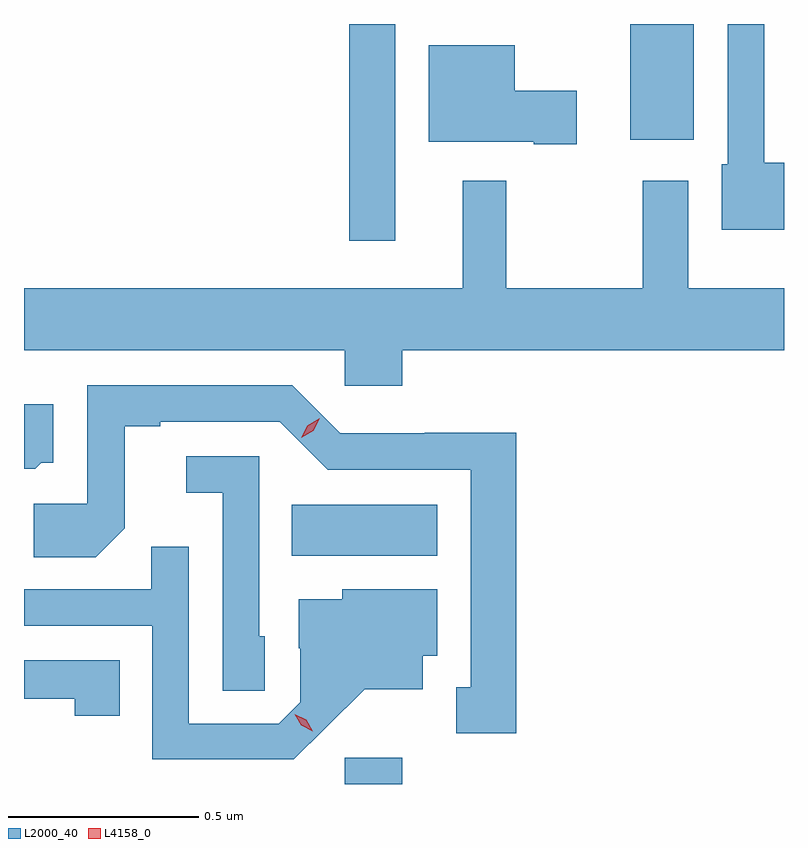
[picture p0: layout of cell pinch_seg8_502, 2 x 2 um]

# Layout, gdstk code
import gdstk
lib = gdstk.Library(unit=1e-6, precision=1e-09)
def R(c, l, rs):  # rectangles x0, y0, x1, y1
    for r in rs: c.add(gdstk.rectangle(r[:2], r[2:], *l))
def P(c, l, *ps):  # polygons
    for p in ps: c.add(gdstk.Polygon(p, *l))
L2000_40 = (2000, 40)
L4158_0 = (4158, 0)

pinch_seg8_502 = lib.new_cell('pinch_seg8_502')
R(pinch_seg8_502, L2000_40, [(210.99,1138.003,211.142,1138.072), (210.85,1138.604,211.234,1138.738), (211.002,1139.433,211.123,1140.003), (211.742,1139.699,211.909,1140.003)])
P(pinch_seg8_502, L2000_40, [(212.146,1139.638),(212.094,1139.638),(212.094,1140.003),(211.998,1140.003),(211.998,1139.634),(211.982,1139.634),(211.982,1139.462),(212.146,1139.462)],
  [(211.6,1139.828),(211.438,1139.828),(211.438,1139.947),(211.211,1139.947),(211.211,1139.693),(211.487,1139.693),(211.487,1139.686),(211.6,1139.686)],
  [(211.142,1139.144),(212.146,1139.144),(212.146,1139.308),(211.894,1139.308),(211.894,1139.59),(211.774,1139.59),(211.774,1139.308),(211.415,1139.308),(211.415,1139.59),(211.301,1139.59),(211.301,1139.308),(210.146,1139.308),(210.146,1139.144),(210.99,1139.144),(210.99,1139.051),(211.142,1139.051)],
  [(211.441,1138.928),(211.2,1138.928),(211.2,1138.926),(210.978,1138.926),(210.852,1139.052),(210.312,1139.052),(210.312,1138.74),(210.171,1138.74),(210.171,1138.6),(210.335,1138.6),(210.411,1138.676),(210.411,1138.944),(210.505,1138.944),(210.505,1138.956),(210.819,1138.956),(210.945,1138.83),(211.322,1138.83),(211.322,1138.257),(211.283,1138.257),(211.283,1138.137),(211.441,1138.137)],
  [(210.192,1138.848),(210.223,1138.848),(210.223,1139.002),(210.146,1139.002),(210.146,1138.832),(210.176,1138.832)],
  [(210.78,1138.392),(210.765,1138.392),(210.765,1138.866),(210.573,1138.866),(210.573,1138.769),(210.669,1138.769),(210.669,1138.249),(210.78,1138.249)],
  [(210.94,1138.151),(211.043,1138.253),(211.195,1138.253),(211.195,1138.34),(211.234,1138.34),(211.234,1138.516),(210.984,1138.516),(210.984,1138.489),(210.869,1138.489),(210.869,1138.36),(210.873,1138.36),(210.873,1138.218),(210.816,1138.161),(210.579,1138.161),(210.579,1138.628),(210.481,1138.628),(210.481,1138.515),(210.146,1138.515),(210.146,1138.419),(210.483,1138.419),(210.483,1138.068),(210.856,1138.068)],
  [(210.398,1138.329),(210.146,1138.329),(210.146,1138.228),(210.28,1138.228),(210.28,1138.182),(210.398,1138.182)])
P(pinch_seg8_502, L4158_0, [(210.875,1138.914),(210.875,1138.914),(210.892,1138.946),(210.924,1138.965),(210.924,1138.965),(210.924,1138.965),(210.907,1138.932),(210.875,1138.914)],
  [(210.906,1138.142),(210.876,1138.157),(210.858,1138.186),(210.858,1138.186),(210.858,1138.186),(210.889,1138.172),(210.906,1138.142),(210.906,1138.142)])

lib.write_gds('pinch_seg8_502.gds')
